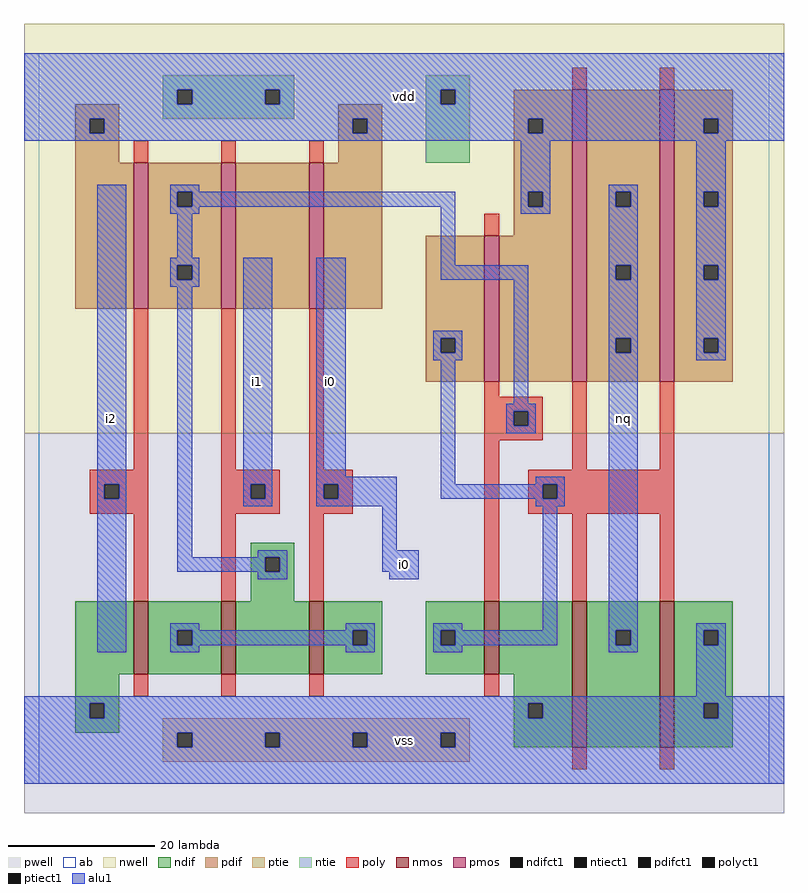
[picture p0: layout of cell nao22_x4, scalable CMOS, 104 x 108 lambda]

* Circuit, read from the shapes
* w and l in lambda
.subckt nao22_x4 i0 i1 i2 nq vdd vss
M1 n1 i2 vss vss nfet w=10 l=2
M2 n2 i1 n1 vss nfet w=10 l=2
M3 n1 i0 n2 vss nfet w=10 l=2
M4 vss n2 n3 vss nfet w=10 l=2
M5 nq n3 vss vss nfet w=20 l=2 m=2
M6 n2 i2 vdd vdd pfet w=20 l=2
M7 n4 i1 n2 vdd pfet w=20 l=2
M8 vdd i0 n4 vdd pfet w=20 l=2
M9 vdd n2 n3 vdd pfet w=20 l=2
M10 nq n3 vdd vdd pfet w=40 l=2 m=2
.ends

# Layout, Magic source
magic
tech scmos
<< ab >>
rect 0 0 100 100
<< nwell >>
rect -2 48 102 104
<< pwell >>
rect -2 -4 102 48
<< poly >>
rect 73 95 75 98
rect 85 95 87 98
rect 13 85 15 88
rect 25 85 27 88
rect 37 85 39 88
rect 61 75 63 78
rect 13 43 15 65
rect 7 41 15 43
rect 7 39 9 41
rect 11 39 15 41
rect 7 37 15 39
rect 13 25 15 37
rect 25 43 27 65
rect 37 43 39 65
rect 61 53 63 55
rect 61 51 69 53
rect 61 49 65 51
rect 67 49 69 51
rect 61 47 69 49
rect 25 41 33 43
rect 25 39 29 41
rect 31 39 33 41
rect 25 37 33 39
rect 37 41 43 43
rect 37 39 39 41
rect 41 39 43 41
rect 37 37 43 39
rect 25 25 27 37
rect 37 25 39 37
rect 61 25 63 47
rect 73 43 75 55
rect 85 43 87 55
rect 67 41 87 43
rect 67 39 69 41
rect 71 39 87 41
rect 67 37 87 39
rect 73 25 75 37
rect 85 25 87 37
rect 13 12 15 15
rect 25 12 27 15
rect 37 12 39 15
rect 61 12 63 15
rect 73 2 75 5
rect 85 2 87 5
<< ndif >>
rect 29 31 35 33
rect 29 29 31 31
rect 33 29 35 31
rect 29 25 35 29
rect 5 15 13 25
rect 15 21 25 25
rect 15 19 19 21
rect 21 19 25 21
rect 15 15 25 19
rect 27 15 37 25
rect 39 21 47 25
rect 39 19 43 21
rect 45 19 47 21
rect 39 15 47 19
rect 53 21 61 25
rect 53 19 55 21
rect 57 19 61 21
rect 53 15 61 19
rect 63 15 73 25
rect 5 11 11 15
rect 5 9 7 11
rect 9 9 11 11
rect 65 11 73 15
rect 65 9 67 11
rect 69 9 73 11
rect 5 7 11 9
rect 65 5 73 9
rect 75 21 85 25
rect 75 19 79 21
rect 81 19 85 21
rect 75 5 85 19
rect 87 21 95 25
rect 87 19 91 21
rect 93 19 95 21
rect 87 11 95 19
rect 87 9 91 11
rect 93 9 95 11
rect 87 5 95 9
<< pdif >>
rect 5 91 11 93
rect 41 91 47 93
rect 5 89 7 91
rect 9 89 11 91
rect 5 85 11 89
rect 41 89 43 91
rect 45 89 47 91
rect 41 85 47 89
rect 65 91 73 95
rect 65 89 67 91
rect 69 89 73 91
rect 5 65 13 85
rect 15 81 25 85
rect 15 79 19 81
rect 21 79 25 81
rect 15 71 25 79
rect 15 69 19 71
rect 21 69 25 71
rect 15 65 25 69
rect 27 65 37 85
rect 39 65 47 85
rect 65 81 73 89
rect 65 79 67 81
rect 69 79 73 81
rect 65 75 73 79
rect 53 61 61 75
rect 53 59 55 61
rect 57 59 61 61
rect 53 55 61 59
rect 63 55 73 75
rect 75 81 85 95
rect 75 79 79 81
rect 81 79 85 81
rect 75 71 85 79
rect 75 69 79 71
rect 81 69 85 71
rect 75 61 85 69
rect 75 59 79 61
rect 81 59 85 61
rect 75 55 85 59
rect 87 91 95 95
rect 87 89 91 91
rect 93 89 95 91
rect 87 81 95 89
rect 87 79 91 81
rect 93 79 95 81
rect 87 71 95 79
rect 87 69 91 71
rect 93 69 95 71
rect 87 61 95 69
rect 87 59 91 61
rect 93 59 95 61
rect 87 55 95 59
<< alu1 >>
rect -2 95 102 100
rect -2 93 19 95
rect 21 93 31 95
rect 33 93 55 95
rect 57 93 102 95
rect -2 91 102 93
rect -2 89 7 91
rect 9 89 43 91
rect 45 89 67 91
rect 69 89 91 91
rect 93 89 102 91
rect -2 88 102 89
rect 8 41 12 82
rect 18 81 22 82
rect 66 81 70 88
rect 18 79 19 81
rect 21 79 57 81
rect 18 78 22 79
rect 19 72 21 78
rect 18 71 22 72
rect 18 69 19 71
rect 21 69 22 71
rect 18 68 22 69
rect 8 39 9 41
rect 11 39 12 41
rect 8 18 12 39
rect 19 31 21 68
rect 28 41 32 72
rect 28 39 29 41
rect 31 39 32 41
rect 28 38 32 39
rect 38 42 42 72
rect 55 71 57 79
rect 66 79 67 81
rect 69 79 70 81
rect 66 78 70 79
rect 78 81 82 82
rect 78 79 79 81
rect 81 79 82 81
rect 78 71 82 79
rect 55 69 67 71
rect 54 61 58 62
rect 54 59 55 61
rect 57 59 58 61
rect 54 58 58 59
rect 38 41 49 42
rect 38 39 39 41
rect 41 39 49 41
rect 55 41 57 58
rect 65 52 67 69
rect 78 69 79 71
rect 81 69 82 71
rect 78 61 82 69
rect 78 59 79 61
rect 81 59 82 61
rect 64 51 68 52
rect 64 49 65 51
rect 67 49 68 51
rect 64 48 68 49
rect 68 41 72 42
rect 55 39 69 41
rect 71 39 72 41
rect 38 38 49 39
rect 68 38 72 39
rect 47 32 49 38
rect 30 31 34 32
rect 19 29 31 31
rect 33 29 34 31
rect 47 29 52 32
rect 30 28 34 29
rect 48 28 52 29
rect 18 21 22 22
rect 42 21 46 22
rect 18 19 19 21
rect 21 19 43 21
rect 45 19 46 21
rect 18 18 22 19
rect 42 18 46 19
rect 54 21 58 22
rect 69 21 71 38
rect 54 19 55 21
rect 57 19 71 21
rect 78 21 82 59
rect 90 81 94 88
rect 90 79 91 81
rect 93 79 94 81
rect 90 71 94 79
rect 90 69 91 71
rect 93 69 94 71
rect 90 61 94 69
rect 90 59 91 61
rect 93 59 94 61
rect 90 58 94 59
rect 78 19 79 21
rect 81 19 82 21
rect 54 18 58 19
rect 78 18 82 19
rect 90 21 94 22
rect 90 19 91 21
rect 93 19 94 21
rect 90 12 94 19
rect -2 11 102 12
rect -2 9 7 11
rect 9 9 67 11
rect 69 9 91 11
rect 93 9 102 11
rect -2 7 102 9
rect -2 5 19 7
rect 21 5 31 7
rect 33 5 43 7
rect 45 5 55 7
rect 57 5 102 7
rect -2 0 102 5
<< ptie >>
rect 17 7 59 9
rect 17 5 19 7
rect 21 5 31 7
rect 33 5 43 7
rect 45 5 55 7
rect 57 5 59 7
rect 17 3 59 5
<< ntie >>
rect 17 95 35 97
rect 17 93 19 95
rect 21 93 31 95
rect 33 93 35 95
rect 53 95 59 97
rect 53 93 55 95
rect 57 93 59 95
rect 17 91 35 93
rect 53 85 59 93
<< nmos >>
rect 13 15 15 25
rect 25 15 27 25
rect 37 15 39 25
rect 61 15 63 25
rect 73 5 75 25
rect 85 5 87 25
<< pmos >>
rect 13 65 15 85
rect 25 65 27 85
rect 37 65 39 85
rect 61 55 63 75
rect 73 55 75 95
rect 85 55 87 95
<< polyct1 >>
rect 9 39 11 41
rect 65 49 67 51
rect 29 39 31 41
rect 39 39 41 41
rect 69 39 71 41
<< ndifct1 >>
rect 31 29 33 31
rect 19 19 21 21
rect 43 19 45 21
rect 55 19 57 21
rect 7 9 9 11
rect 67 9 69 11
rect 79 19 81 21
rect 91 19 93 21
rect 91 9 93 11
<< ntiect1 >>
rect 19 93 21 95
rect 31 93 33 95
rect 55 93 57 95
<< ptiect1 >>
rect 19 5 21 7
rect 31 5 33 7
rect 43 5 45 7
rect 55 5 57 7
<< pdifct1 >>
rect 7 89 9 91
rect 43 89 45 91
rect 67 89 69 91
rect 19 79 21 81
rect 19 69 21 71
rect 67 79 69 81
rect 55 59 57 61
rect 79 79 81 81
rect 79 69 81 71
rect 79 59 81 61
rect 91 89 93 91
rect 91 79 93 81
rect 91 69 93 71
rect 91 59 93 61
<< labels >>
rlabel alu1 10 50 10 50 6 i2
rlabel alu1 30 55 30 55 6 i1
rlabel alu1 50 6 50 6 6 vss
rlabel alu1 50 30 50 30 6 i0
rlabel alu1 40 55 40 55 6 i0
rlabel alu1 50 94 50 94 6 vdd
rlabel alu1 80 50 80 50 6 nq
<< end >>
